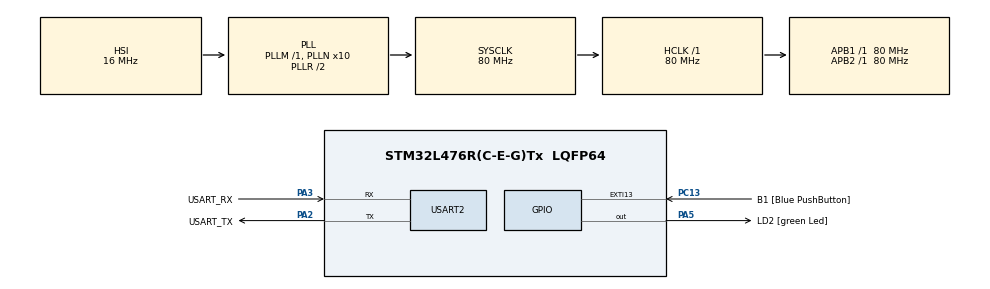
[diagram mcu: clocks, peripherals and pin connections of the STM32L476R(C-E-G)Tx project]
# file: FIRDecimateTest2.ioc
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Mcu.Family=STM32L4
Mcu.Name=STM32L476R(C-E-G)Tx
Mcu.Package=LQFP64
NVIC.PriorityGroup=NVIC_PRIORITYGROUP_4
PA13\ (JTMS-SWDIO).GPIO_Label=TMS
PA13\ (JTMS-SWDIO).Mode=Serial_Wire
PA13\ (JTMS-SWDIO).Signal=SYS_JTMS-SWDIO
PA14\ (JTCK-SWCLK).GPIO_Label=TCK
PA14\ (JTCK-SWCLK).Mode=Serial_Wire
PA14\ (JTCK-SWCLK).Signal=SYS_JTCK-SWCLK
PA2.GPIO_Label=USART_TX
PA2.GPIO_Mode=GPIO_MODE_AF_PP
PA2.GPIO_PuPd=GPIO_NOPULL
PA2.GPIO_Speed=GPIO_SPEED_FREQ_VERY_HIGH
PA2.Mode=Asynchronous
PA2.Signal=USART2_TX
PA3.GPIO_Label=USART_RX
PA3.GPIO_Mode=GPIO_MODE_AF_PP
PA3.GPIO_PuPd=GPIO_NOPULL
PA3.GPIO_Speed=GPIO_SPEED_FREQ_VERY_HIGH
PA3.Mode=Asynchronous
PA3.Signal=USART2_RX
PA5.GPIO_Label=LD2 [green Led]
PA5.GPIO_ModeDefaultOutputPP=GPIO_MODE_OUTPUT_PP
PA5.GPIO_PuPd=GPIO_NOPULL
PA5.GPIO_Speed=GPIO_SPEED_FREQ_LOW
PA5.Signal=GPIO_Output
PB3\ (JTDO-TRACESWO).GPIO_Label=SWO
PB3\ (JTDO-TRACESWO).Signal=SYS_JTDO-SWO
PC13.GPIO_Label=B1 [Blue PushButton]
PC13.GPIO_ModeDefaultEXTI=GPIO_MODE_IT_FALLING
PC13.GPIO_PuPd=GPIO_NOPULL
PC13.Signal=GPXTI13
PC14-OSC32_IN\ (PC14).Mode=LSE-External-Oscillator
PC14-OSC32_IN\ (PC14).Signal=RCC_OSC32_IN
PC15-OSC32_OUT\ (PC15).Mode=LSE-External-Oscillator
PC15-OSC32_OUT\ (PC15).Signal=RCC_OSC32_OUT
PH0-OSC_IN\ (PH0).Signal=RCC_OSC_IN
PH1-OSC_OUT\ (PH1).Signal=RCC_OSC_OUT
ProjectManager.HeapSize=0x200
ProjectManager.StackSize=0x400
ProjectManager.TargetToolchain=STM32CubeIDE
RCC.ADCFreq_Value=64000000
RCC.AHBFreq_Value=80000000
RCC.APB1Freq_Value=80000000
RCC.APB1TimFreq_Value=80000000
RCC.APB2Freq_Value=80000000
RCC.APB2TimFreq_Value=80000000
RCC.CortexFreq_Value=80000000
RCC.HCLKFreq_Value=80000000
RCC.HSE_VALUE=8000000
RCC.HSI_VALUE=16000000
RCC.MSI_VALUE=4000000
RCC.PLLN=10
RCC.PLLSourceVirtual=RCC_PLLSOURCE_HSI
RCC.PREFETCH_ENABLE=1
RCC.SYSCLKFreq_VALUE=80000000
RCC.SYSCLKSource=RCC_SYSCLKSOURCE_PLLCLK
RCC.USBFreq_Value=64000000
RCC.VCOOutputFreq_Value=160000000
USART2.VirtualMode-Asynchronous=VM_ASYNC
board=NUCLEO-L476RG

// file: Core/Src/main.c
/* USER CODE BEGIN Header */
/**
  ******************************************************************************
  * @file           : main.c
  * @brief          : Main program body
  ******************************************************************************
  * @attention
  *
  * <h2><center>&copy; Copyright (c) 2022 STMicroelectronics.
  * All rights reserved.</center></h2>
  *
  * This software component is licensed by ST under BSD 3-Clause license,
  * the "License"; You may not use this file except in compliance with the
  * License. You may obtain a copy of the License at:
  *                        opensource.org/licenses/BSD-3-Clause
  *
  ******************************************************************************
  */
/* USER CODE END Header */
#include "main.h"
#include "arm_math.h"
#include "math_helper.h"
#include <stdio.h>

/* USER CODE BEGIN PM */
/* ----------------------------------------------------------------------
** Macro Defines
** ------------------------------------------------------------------- */
#define TEST_LENGTH_SAMPLES  320
#define SNR_THRESHOLD_F32    75.0f
#define BLOCK_SIZE            32
#if defined(ARM_MATH_MVEF) && !defined(ARM_MATH_AUTOVECTORIZE)
/* Must be a multiple of 16 */
#define NUM_TAPS_ARRAY_SIZE              32
#else
#define NUM_TAPS_ARRAY_SIZE              29
#endif
#define NUM_TAPS              29
/* USER CODE END PM */

UART_HandleTypeDef huart2;

/* USER CODE BEGIN PV */
/* -------------------------------------------------------------------
 * The input signal and reference output (computed with MATLAB)
 * are defined externally in arm_fir_lpf_data.c.
 * ------------------------------------------------------------------- */
extern float32_t testInput_f32_1kHz_15kHz[TEST_LENGTH_SAMPLES];
extern float32_t refOutput[TEST_LENGTH_SAMPLES];
/* -------------------------------------------------------------------
 * Declare Test output buffer
 * ------------------------------------------------------------------- */
static float32_t testOutput[TEST_LENGTH_SAMPLES];

/* -------------------------------------------------------------------
 * Declare State buffer of size (numTaps + blockSize - 1)
 * ------------------------------------------------------------------- */
#if defined(ARM_MATH_MVEF) && !defined(ARM_MATH_AUTOVECTORIZE)
static float32_t firStateF32[2 * BLOCK_SIZE + NUM_TAPS - 1];
#else
static float32_t firStateF32[BLOCK_SIZE + NUM_TAPS - 1];
#endif

/* ----------------------------------------------------------------------
** FIR Coefficients buffer generated using fir1() MATLAB function.
** fir1(28, 6/24)
** ------------------------------------------------------------------- */
#if defined(ARM_MATH_MVEF) && !defined(ARM_MATH_AUTOVECTORIZE)
const float32_t firCoeffs32[NUM_TAPS_ARRAY_SIZE] = {
  -0.0018225230f, -0.0015879294f, +0.0000000000f, +0.0036977508f, +0.0080754303f, +0.0085302217f, -0.0000000000f, -0.0173976984f,
  -0.0341458607f, -0.0333591565f, +0.0000000000f, +0.0676308395f, +0.1522061835f, +0.2229246956f, +0.2504960933f, +0.2229246956f,
  +0.1522061835f, +0.0676308395f, +0.0000000000f, -0.0333591565f, -0.0341458607f, -0.0173976984f, -0.0000000000f, +0.0085302217f,
  +0.0080754303f, +0.0036977508f, +0.0000000000f, -0.0015879294f, -0.0018225230f, 0.0f,0.0f,0.0f
};
#else
const float32_t firCoeffs32[NUM_TAPS_ARRAY_SIZE] = {
  -0.0018225230f, -0.0015879294f, +0.0000000000f, +0.0036977508f, +0.0080754303f, +0.0085302217f, -0.0000000000f, -0.0173976984f,
  -0.0341458607f, -0.0333591565f, +0.0000000000f, +0.0676308395f, +0.1522061835f, +0.2229246956f, +0.2504960933f, +0.2229246956f,
  +0.1522061835f, +0.0676308395f, +0.0000000000f, -0.0333591565f, -0.0341458607f, -0.0173976984f, -0.0000000000f, +0.0085302217f,
  +0.0080754303f, +0.0036977508f, +0.0000000000f, -0.0015879294f, -0.0018225230f
};
#endif

/* ------------------------------------------------------------------
 * Global variables for FIR LPF Example
 * ------------------------------------------------------------------- */
uint32_t blockSize = BLOCK_SIZE;
uint32_t numBlocks = TEST_LENGTH_SAMPLES/BLOCK_SIZE;
float32_t  snr;

/* USER CODE END PV */

void SystemClock_Config(void);
static void MX_GPIO_Init(void);
static void MX_USART2_UART_Init(void);

int main(void)
{

  /* MCU Configuration--------------------------------------------------------*/

  /* Reset of all peripherals, Initializes the Flash interface and the Systick. */
  HAL_Init();

  /* Configure the system clock */
  SystemClock_Config();

  /* Initialize all configured peripherals */
  MX_GPIO_Init();
  MX_USART2_UART_Init();
  /* USER CODE BEGIN 2 */
  uint32_t i;
    arm_fir_instance_f32 S;
    arm_status status;
    float32_t  *inputF32, *outputF32;
    /* Initialize input and output buffer pointers */
    inputF32 = &testInput_f32_1kHz_15kHz[0];
    outputF32 = &testOutput[0];
    /* Call FIR init function to initialize the instance structure. */
    arm_fir_init_f32(&S, NUM_TAPS, (float32_t *)&firCoeffs32[0], &firStateF32[0], blockSize);
    /* ----------------------------------------------------------------------
    ** Call the FIR process function for every blockSize samples
    ** ------------------------------------------------------------------- */
    for(i=0; i < numBlocks; i++)
    {
      arm_fir_f32(&S, inputF32 + (i * blockSize), outputF32 + (i * blockSize), blockSize);
    }
    /* ----------------------------------------------------------------------
    ** Compare the generated output against the reference output computed
    ** in MATLAB.
    ** ------------------------------------------------------------------- */
    snr = arm_snr_f32(&refOutput[0], &testOutput[0], TEST_LENGTH_SAMPLES);
    status = (snr < SNR_THRESHOLD_F32) ? ARM_MATH_TEST_FAILURE : ARM_MATH_SUCCESS;

    if (status != ARM_MATH_SUCCESS)
    {
  	  char buff2[30];
  	  sprintf(buff2,"FAILURE\r\n");
  	  HAL_UART_Transmit(&huart2,(uint8_t*)buff2,strlen(buff2),100);
    }
    else
    {
  	  char buff3[30];
  	  sprintf(buff3,"SUCCESS!\r\n");
  	  HAL_UART_Transmit(&huart2,(uint8_t*)buff3,strlen(buff3),100);
    }

    for (uint32_t j = 0; j < TEST_LENGTH_SAMPLES; j++){
    	char FIROut[30];
    	sprintf(FIROut,"FIR Out %.2f \r\n", testOutput[j]);
    	HAL_UART_Transmit(&huart2, (uint8_t*)FIROut, 30, 100);
    	}
  /* USER CODE END 2 */
}

void SystemClock_Config(void)
{
  RCC_OscInitTypeDef RCC_OscInitStruct = {0};
  RCC_ClkInitTypeDef RCC_ClkInitStruct = {0};
  RCC_PeriphCLKInitTypeDef PeriphClkInit = {0};

  /** Initializes the RCC Oscillators according to the specified parameters
  * in the RCC_OscInitTypeDef structure.
  */
  RCC_OscInitStruct.OscillatorType = RCC_OSCILLATORTYPE_HSI;
  RCC_OscInitStruct.HSIState = RCC_HSI_ON;
  RCC_OscInitStruct.HSICalibrationValue = RCC_HSICALIBRATION_DEFAULT;
  RCC_OscInitStruct.PLL.PLLState = RCC_PLL_ON;
  RCC_OscInitStruct.PLL.PLLSource = RCC_PLLSOURCE_HSI;
  RCC_OscInitStruct.PLL.PLLM = 1;
  RCC_OscInitStruct.PLL.PLLN = 10;
  RCC_OscInitStruct.PLL.PLLP = RCC_PLLP_DIV7;
  RCC_OscInitStruct.PLL.PLLQ = RCC_PLLQ_DIV2;
  RCC_OscInitStruct.PLL.PLLR = RCC_PLLR_DIV2;
  if (HAL_RCC_OscConfig(&RCC_OscInitStruct) != HAL_OK)
  {
    Error_Handler();
  }
  /** Initializes the CPU, AHB and APB buses clocks
  */
  RCC_ClkInitStruct.ClockType = RCC_CLOCKTYPE_HCLK|RCC_CLOCKTYPE_SYSCLK
                              |RCC_CLOCKTYPE_PCLK1|RCC_CLOCKTYPE_PCLK2;
  RCC_ClkInitStruct.SYSCLKSource = RCC_SYSCLKSOURCE_PLLCLK;
  RCC_ClkInitStruct.AHBCLKDivider = RCC_SYSCLK_DIV1;
  RCC_ClkInitStruct.APB1CLKDivider = RCC_HCLK_DIV1;
  RCC_ClkInitStruct.APB2CLKDivider = RCC_HCLK_DIV1;

  if (HAL_RCC_ClockConfig(&RCC_ClkInitStruct, FLASH_LATENCY_4) != HAL_OK)
  {
    Error_Handler();
  }
  PeriphClkInit.PeriphClockSelection = RCC_PERIPHCLK_USART2;
  PeriphClkInit.Usart2ClockSelection = RCC_USART2CLKSOURCE_PCLK1;
  if (HAL_RCCEx_PeriphCLKConfig(&PeriphClkInit) != HAL_OK)
  {
    Error_Handler();
  }
  /** Configure the main internal regulator output voltage
  */
  if (HAL_PWREx_ControlVoltageScaling(PWR_REGULATOR_VOLTAGE_SCALE1) != HAL_OK)
  {
    Error_Handler();
  }
}

static void MX_USART2_UART_Init(void)
{

  huart2.Instance = USART2;
  huart2.Init.BaudRate = 115200;
  huart2.Init.WordLength = UART_WORDLENGTH_8B;
  huart2.Init.StopBits = UART_STOPBITS_1;
  huart2.Init.Parity = UART_PARITY_NONE;
  huart2.Init.Mode = UART_MODE_TX_RX;
  huart2.Init.HwFlowCtl = UART_HWCONTROL_NONE;
  huart2.Init.OverSampling = UART_OVERSAMPLING_16;
  huart2.Init.OneBitSampling = UART_ONE_BIT_SAMPLE_DISABLE;
  huart2.AdvancedInit.AdvFeatureInit = UART_ADVFEATURE_NO_INIT;
  if (HAL_UART_Init(&huart2) != HAL_OK)
  {
    Error_Handler();
  }

}

static void MX_GPIO_Init(void)
{
  GPIO_InitTypeDef GPIO_InitStruct = {0};

  /* GPIO Ports Clock Enable */
  __HAL_RCC_GPIOC_CLK_ENABLE();
  __HAL_RCC_GPIOH_CLK_ENABLE();
  __HAL_RCC_GPIOA_CLK_ENABLE();
  __HAL_RCC_GPIOB_CLK_ENABLE();

  /*Configure GPIO pin Output Level */
  HAL_GPIO_WritePin(LD2_GPIO_Port, LD2_Pin, GPIO_PIN_RESET);

  /*Configure GPIO pin : B1_Pin */
  GPIO_InitStruct.Pin = B1_Pin;
  GPIO_InitStruct.Mode = GPIO_MODE_IT_FALLING;
  GPIO_InitStruct.Pull = GPIO_NOPULL;
  HAL_GPIO_Init(B1_GPIO_Port, &GPIO_InitStruct);

  /*Configure GPIO pin : LD2_Pin */
  GPIO_InitStruct.Pin = LD2_Pin;
  GPIO_InitStruct.Mode = GPIO_MODE_OUTPUT_PP;
  GPIO_InitStruct.Pull = GPIO_NOPULL;
  GPIO_InitStruct.Speed = GPIO_SPEED_FREQ_LOW;
  HAL_GPIO_Init(LD2_GPIO_Port, &GPIO_InitStruct);

}

void Error_Handler(void)
{
}

/************************ (C) COPYRIGHT STMicroelectronics *****END OF FILE****/
